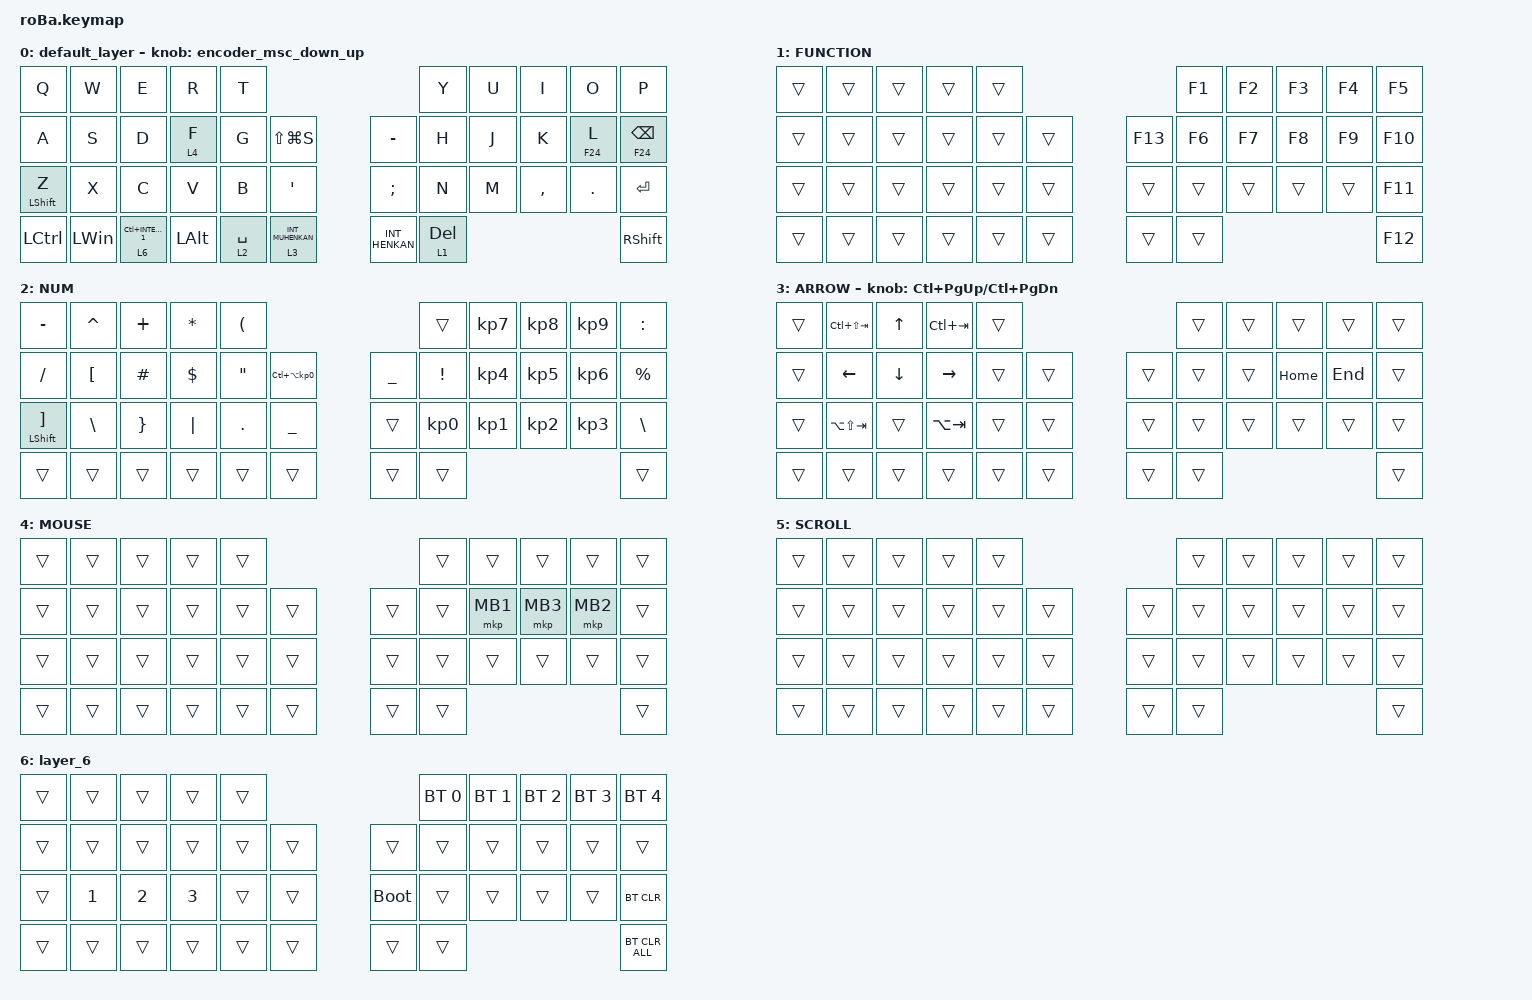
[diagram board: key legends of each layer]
#include <behaviors.dtsi>
#include <dt-bindings/zmk/bt.h>
#include <dt-bindings/zmk/keys.h>
#include <dt-bindings/zmk/pointing.h>

#define ZMK_POINTING_DEFAULT_SCRL_VAL 80

&mt {
    flavor = "balanced";
    quick-tap-ms = <0>;
};

&trackball {
    scroll-layers = <5>;

    // arrows {
    //     layers = <3>;
    //     bindings =
    //         <&kp RIGHT_ARROW>,
    //         <&kp LEFT_ARROW>,
    //         <&kp UP_ARROW>,
    //         <&kp DOWN_ARROW>;
    //     tick = <10>;
    //     wait-ms = <5>;
    //     tap-ms = <5>;
    // };
};

/ {
    combos {
        compatible = "zmk,combos";

        tab {
            bindings = <&kp TAB>;
            key-positions = <11 12>;
        };

        shift_tab {
            bindings = <&kp LS(TAB)>;
            key-positions = <12 13>;
        };

        double_quotation {
            bindings = <&kp DOUBLE_QUOTES>;
            key-positions = <20 21>;
        };

        eq {
            bindings = <&kp EQUAL>;
            key-positions = <24 25>;
        };

        esc {
            bindings = <&kp ESC>;
            key-positions = <0 1>;
        };
    };

    macros {
        to_layer_0: to_layer_0 {
            compatible = "zmk,behavior-macro-one-param";
            #binding-cells = <1>;
            bindings = <&to 0 &macro_param_1to1 &kp MACRO_PLACEHOLDER>;
            label = "TO_LAYER_0";
        };
    };

    behaviors {
        lt_to_layer_0: lt_to_layer_0 {
            compatible = "zmk,behavior-hold-tap";
            label = "LAYER_TAP_TO_0";
            bindings = <&mo>, <&to_layer_0>;

            #binding-cells = <2>;
            tapping-term-ms = <200>;
        };

        encoder_msc_down_up: encoder_msc_down_up {
            compatible = "zmk,behavior-sensor-rotate";
            label = "ENCODER_MSC_DOWN_UP";
            #sensor-binding-cells = <0>;
            bindings = <&msc SCRL_DOWN>, <&msc SCRL_UP>;

            tap-ms = <20>;
        };
    };

    keymap {
        compatible = "zmk,keymap";

        default_layer {
            bindings = <
&kp Q             &kp W         &kp E                                 &kp R     &kp T                                                                      &kp Y      &kp U  &kp I      &kp O      &kp P
&kp A             &kp S         &kp D                                 &lt 4 F   &kp G                   &kp LS(LG(S))                      &kp MINUS       &kp H      &kp J  &kp K      &mt F24 L  &mt F24 BACKSPACE
&mt LEFT_SHIFT Z  &kp X         &kp C                                 &kp V     &kp B                   &kp SINGLE_QUOTE                   &kp SEMICOLON   &kp N      &kp M  &kp COMMA  &kp DOT    &kp ENTER
&kp LEFT_CONTROL  &kp LEFT_WIN  &lt_to_layer_0 6 LC(INTERNATIONAL_1)  &kp LALT  &lt_to_layer_0 2 SPACE  &lt_to_layer_0 3 INT_MUHENKAN      &kp INT_HENKAN  &lt 1 DEL                               &kp RIGHT_SHIFT
            >;

            sensor-bindings = <&encoder_msc_down_up>;
        };

        FUNCTION {
            bindings = <
&trans  &trans  &trans  &trans  &trans                       &kp F1  &kp F2  &kp F3  &kp F4  &kp F5
&trans  &trans  &trans  &trans  &trans  &trans      &kp F13  &kp F6  &kp F7  &kp F8  &kp F9  &kp F10
&trans  &trans  &trans  &trans  &trans  &trans      &trans   &trans  &trans  &trans  &trans  &kp F11
&trans  &trans  &trans  &trans  &trans  &trans      &trans   &trans                          &kp F12
            >;
        };

        NUM {
            bindings = <
&kp MINUS                     &kp CARET         &kp PLUS         &kp ASTERISK  &kp LEFT_PARENTHESIS                                               &trans           &kp KP_NUMBER_7  &kp KP_NUMBER_8  &kp KP_NUMBER_9  &kp COLON
&kp SLASH                     &kp LEFT_BRACKET  &kp HASH         &kp DOLLAR    &kp DOUBLE_QUOTES     &kp LC(LA(KP_NUMBER_0))      &kp UNDERSCORE  &kp EXCLAMATION  &kp KP_NUMBER_4  &kp KP_NUMBER_5  &kp KP_NUMBER_6  &kp PERCENT
&mt LEFT_SHIFT RIGHT_BRACKET  &kp BACKSLASH     &kp RIGHT_BRACE  &kp PIPE      &kp PERIOD            &kp UNDER                    &trans          &kp KP_NUMBER_0  &kp KP_NUMBER_1  &kp KP_NUMBER_2  &kp KP_NUMBER_3  &kp BACKSLASH
&trans                        &trans            &trans           &trans        &trans                &trans                       &trans          &trans                                                              &trans
            >;
        };

        ARROW {
            bindings = <
&trans  &kp LC(LS(TAB))  &kp UP_ARROW    &kp LC(TAB)      &trans                      &trans  &trans  &trans    &trans   &trans
&trans  &kp LEFT_ARROW   &kp DOWN_ARROW  &kp RIGHT_ARROW  &trans  &trans      &trans  &trans  &trans  &kp HOME  &kp END  &trans
&trans  &kp LA(LS(TAB))  &trans          &kp LA(TAB)      &trans  &trans      &trans  &trans  &trans  &trans    &trans   &trans
&trans  &trans           &trans          &trans           &trans  &trans      &trans  &trans                             &trans
            >;

            sensor-bindings = <&inc_dec_kp LC(PAGE_UP) LC(PAGE_DOWN)>;
        };

        MOUSE {
            bindings = <
&trans  &trans  &trans  &trans  &trans                      &trans  &trans    &trans    &trans    &trans
&trans  &trans  &trans  &trans  &trans  &trans      &trans  &trans  &mkp MB1  &mkp MB3  &mkp MB2  &trans
&trans  &trans  &trans  &trans  &trans  &trans      &trans  &trans  &trans    &trans    &trans    &trans
&trans  &trans  &trans  &trans  &trans  &trans      &trans  &trans                                &trans
            >;
        };

        SCROLL {
            bindings = <
&trans  &trans  &trans  &trans  &trans                      &trans  &trans  &trans  &trans  &trans
&trans  &trans  &trans  &trans  &trans  &trans      &trans  &trans  &trans  &trans  &trans  &trans
&trans  &trans  &trans  &trans  &trans  &trans      &trans  &trans  &trans  &trans  &trans  &trans
&trans  &trans  &trans  &trans  &trans  &trans      &trans  &trans                          &trans
            >;
        };

        layer_6 {
            bindings = <
&trans  &trans        &trans        &trans        &trans                           &bt BT_SEL 0  &bt BT_SEL 1  &bt BT_SEL 2  &bt BT_SEL 3  &bt BT_SEL 4
&trans  &trans        &trans        &trans        &trans  &trans      &trans       &trans        &trans        &trans        &trans        &trans
&trans  &kp NUMBER_1  &kp NUMBER_2  &kp NUMBER_3  &trans  &trans      &bootloader  &trans        &trans        &trans        &trans        &bt BT_CLR
&trans  &trans        &trans        &trans        &trans  &trans      &trans       &trans                                                  &bt BT_CLR_ALL
            >;
        };
    };
};
